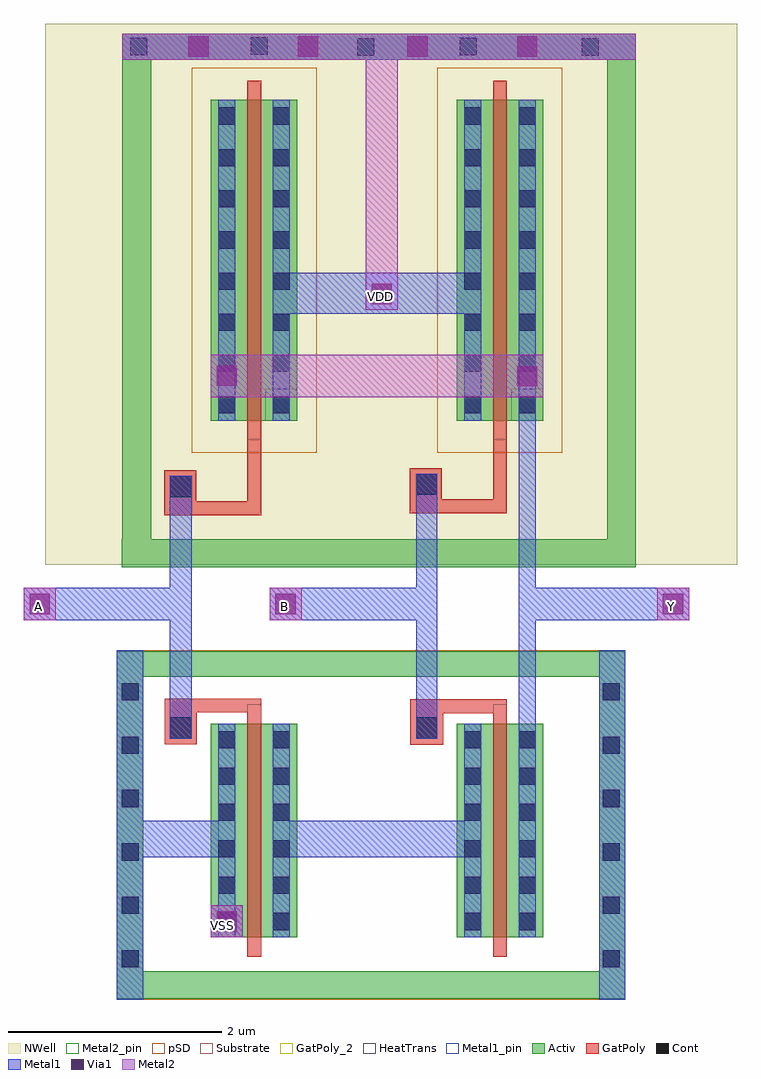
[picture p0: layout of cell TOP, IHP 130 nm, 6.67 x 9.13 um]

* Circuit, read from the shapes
.subckt TOP A B VDD VSS Y
XM1 n1 A VSS VSS sg13_lv_nmos w=2u l=0.13u
XM2 Y B n1 VSS sg13_lv_nmos w=2u l=0.13u
XM3 VDD A Y VDD sg13_lv_pmos w=3u l=0.13u
XM4 Y B VDD VDD sg13_lv_pmos w=3u l=0.13u
.ends

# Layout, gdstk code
import gdstk
lib = gdstk.Library(unit=1e-6, precision=5e-09)
def R(c, l, rs):  # rectangles x0, y0, x1, y1
    for r in rs: c.add(gdstk.rectangle(r[:2], r[2:], *l))
def A(c, l, x, y, w, h, nx, ny, dx, dy):  # array of equal rectangles
    R(c, l, [(x+i*dx, y+j*dy, x+i*dx+w, y+j*dy+h) for i in range(nx) for j in range(ny)])
Activ = (1, 0)
GatPoly = (5, 0)
GatPoly_2 = (5, 2)
Cont = (6, 0)
Metal1 = (8, 0)
Metal1_pin = (8, 2)
Metal2 = (10, 0)
Metal2_pin = (10, 2)
pSD = (14, 0)
Via1 = (19, 0)
NWell = (31, 0)
Substrate = (40, 0)
HeatTrans = (51, 0)

pmos_1 = lib.new_cell('pmos$1')
R(pmos_1, Activ, [(0,0,0.3,0.3), (0,0,0.81,3), (0.51,0,0.81,0.3)])
R(pmos_1, GatPoly, [(0.34,-0.18,0.47,3.18), (0.34,-0.18,0.47,3.18)])
A(pmos_1, Cont, 0.07, 0.07, 0.16, 0.16, 1, 7, 0, 0.385)
A(pmos_1, Cont, 0.58, 0.07, 0.16, 0.16, 1, 7, 0, 0.385)
R(pmos_1, Cont, [(0.07,2.77,0.23,2.93), (0.58,2.77,0.74,2.93)])
R(pmos_1, Metal1, [(0.07,0,0.23,3), (0.07,0,0.23,3), (0.58,0,0.74,3), (0.58,0,0.74,3)])
R(pmos_1, pSD, [(-0.18,-0.3,0.99,3.3)])
R(pmos_1, NWell, [(-0.31,-0.31,1.12,3.31)])
R(pmos_1, Substrate, [(0.51,0,0.81,0.3)])
R(pmos_1, HeatTrans, [(0.34,-0.18,0.47,3.18)])
pmos_1.add(gdstk.Label('pmos', (0.405,1.5), layer=63, texttype=0))
pmos_1.add(gdstk.Label('pmos', (0.405,1.5), layer=51, texttype=0))

nmos_1 = lib.new_cell('nmos$1')
R(nmos_1, Activ, [(0,0,0.3,0.3), (0,0,0.81,2), (0.51,0,0.81,0.3)])
R(nmos_1, GatPoly, [(0.34,-0.18,0.47,2.18)])
R(nmos_1, GatPoly_2, [(0.34,-0.18,0.47,2.18)])
A(nmos_1, Cont, 0.07, 0.07, 0.16, 0.16, 1, 6, 0, 0.34)
A(nmos_1, Cont, 0.58, 0.07, 0.16, 0.16, 1, 6, 0, 0.34)
R(nmos_1, Metal1, [(0.07,0,0.23,2), (0.58,0,0.74,2)])
R(nmos_1, Metal1_pin, [(0.07,0,0.23,2), (0.58,0,0.74,2)])
R(nmos_1, HeatTrans, [(0.34,-0.18,0.47,2.18)])
nmos_1.add(gdstk.Label('nmos', (0.405,1), layer=63, texttype=0))
nmos_1.add(gdstk.Label('nmos', (0.405,1), layer=51, texttype=0))

top = lib.new_cell('TOP')
R(top, Activ, [(-0.75,0.95,4.005,1.21), (-0.75,1.21,-0.5,3.965), (3.765,1.21,4.005,3.965), (-0.75,3.965,4.005,4.205), (-0.705,4.99,4.105,5.25), (-0.7,5.25,-0.425,9.74), (3.84,5.25,4.105,9.74), (-0.7,9.735,4.105,9.98)])
R(top, GatPoly, [(1.995,3.33,2.305,3.625), (-0.3,3.335,0,3.63), (1.995,3.625,2.9,3.755), (-0.3,3.63,0.6,3.76), (-0.305,5.475,0.6,5.605), (-0.305,5.485,0.6,5.59), (1.99,5.495,2.9,5.625), (1.99,5.505,2.895,5.61), (-0.305,5.59,-0.005,5.895), (-0.305,5.59,-0.005,5.895), (0.47,5.605,0.6,6.18), (1.99,5.61,2.29,5.915), (1.99,5.61,2.29,5.915), (2.77,5.625,2.9,6.18)])
A(top, Cont, -0.705, 1.245, 0.16, 0.16, 1, 6, 0, 0.5)
A(top, Cont, 3.795, 1.245, 0.16, 0.16, 1, 6, 0, 0.5)
R(top, Cont, [(-0.255,3.385,-0.05,3.585), (-0.255,3.385,-0.05,3.585), (2.05,3.385,2.25,3.585), (-0.255,5.645,-0.05,5.845), (-0.255,5.645,-0.05,5.845), (2.05,5.665,2.25,5.865), (2.05,5.665,2.25,5.865), (1.5,9.775,1.66,9.935), (3.6,9.775,3.76,9.935), (-0.625,9.78,-0.465,9.94), (2.46,9.78,2.62,9.94), (0.505,9.785,0.665,9.945)])
R(top, Metal1, [(-0.75,0.945,-0.5,4.21), (3.765,0.945,4.005,4.21), (0.13,1.525,0.43,1.825), (-0.5,2.275,0.2,2.615), (0.87,2.275,2.5,2.615), (3.01,2.825,3.17,6.36), (-0.255,3.385,-0.05,3.585), (-0.255,3.385,-0.05,3.585), (-0.255,3.385,-0.05,5.645), (2.05,3.385,2.25,3.585), (2.05,3.385,2.25,5.665), (-1.62,4.495,-1.32,4.795), (-1.32,4.495,-0.255,4.795), (0.68,4.495,0.98,4.795), (0.98,4.495,2.05,4.795), (3.17,4.495,4.305,4.795), (4.305,4.495,4.605,4.795), (-0.255,5.645,-0.05,5.845), (-0.255,5.645,-0.05,5.845), (2.05,5.665,2.25,5.865), (2.05,5.665,2.25,5.865), (0.87,7.36,2.5,7.745), (1.58,7.395,1.88,7.695), (-0.7,9.735,4.105,9.98)])
R(top, Metal1_pin, [(0.185,1.58,0.375,1.755), (-1.565,4.55,-1.375,4.74), (0.735,4.55,0.925,4.74), (4.36,4.55,4.55,4.74), (1.635,7.45,1.825,7.64)])
R(top, Metal2, [(0.13,1.525,0.43,1.825), (-1.62,4.495,-1.32,4.795), (0.68,4.495,0.98,4.795), (4.305,4.495,4.605,4.795), (0.13,6.58,3.24,6.975), (1.58,7.395,1.88,7.695), (1.58,7.695,1.88,9.735), (-0.7,9.735,4.105,9.98)])
R(top, Metal2_pin, [(0.185,1.58,0.375,1.77), (-1.565,4.55,-1.375,4.74), (0.735,4.55,0.925,4.74), (4.36,4.55,4.55,4.74), (1.635,7.45,1.825,7.64)])
R(top, pSD, [(-0.75,0.945,4.005,1.21), (-0.75,1.21,-0.5,3.965), (3.765,1.21,4.005,3.965), (-0.75,3.965,4.005,4.21)])
A(top, Via1, -0.08, 9.765, 0.19, 0.19, 4, 1, 1.025, 0)
R(top, Via1, [(0.185,1.58,0.375,1.77), (-1.565,4.55,-1.375,4.74), (0.735,4.55,0.925,4.74), (4.36,4.55,4.55,4.74), (2.995,6.68,3.185,6.87), (0.185,6.685,0.375,6.875), (1.635,7.45,1.825,7.64)])
R(top, NWell, [(-1.42,5.01,5.055,10.075)])
top.add(gdstk.Reference(pmos_1, (0.13,6.36)))
top.add(gdstk.Reference(pmos_1, (2.43,6.36)))
top.add(gdstk.Reference(nmos_1, (0.13,1.525)))
top.add(gdstk.Reference(nmos_1, (2.43,1.525)))
top.add(gdstk.Label('VDD', (1.715,7.52), layer=10, texttype=2))
top.add(gdstk.Label('A', (-1.485,4.62), layer=10, texttype=2))
top.add(gdstk.Label('Y', (4.44,4.62), layer=10, texttype=2))
top.add(gdstk.Label('B', (0.815,4.62), layer=10, texttype=2))
top.add(gdstk.Label('VSS', (0.24,1.635), layer=10, texttype=2))

lib.write_gds('TOP.gds')
